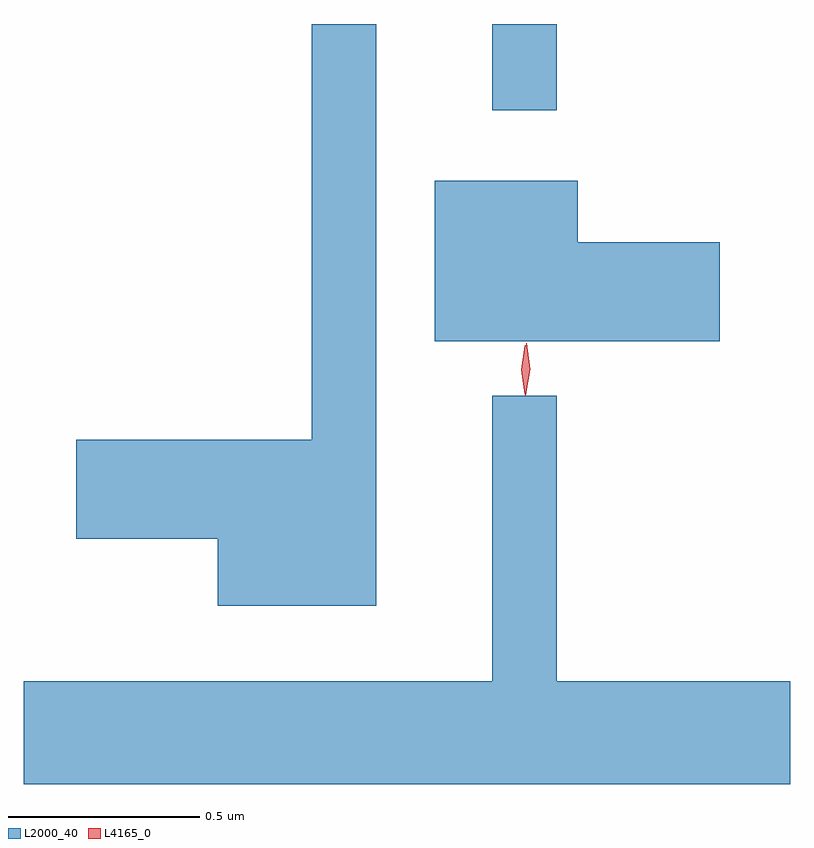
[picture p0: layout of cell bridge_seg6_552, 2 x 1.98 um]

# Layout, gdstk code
import gdstk
lib = gdstk.Library(unit=1e-6, precision=1e-09)
def R(c, l, rs):  # rectangles x0, y0, x1, y1
    for r in rs: c.add(gdstk.rectangle(r[:2], r[2:], *l))
def P(c, l, *ps):  # polygons
    for p in ps: c.add(gdstk.Polygon(p, *l))
L2000_40 = (2000, 40)
L4165_0 = (4165, 0)

bridge_seg6_552 = lib.new_cell('bridge_seg6_552')
R(bridge_seg6_552, L2000_40, [(598.591,1662.793,598.759,1663.018)])
P(bridge_seg6_552, L2000_40, [(598.289,1663.018),(598.121,1663.018),(598.121,1661.934),(597.506,1661.934),(597.506,1661.676),(597.876,1661.676),(597.876,1661.501),(598.289,1661.501)],
  [(599.184,1662.449),(598.814,1662.449),(598.814,1662.609),(598.441,1662.609),(598.441,1662.191),(599.184,1662.191)],
  [(599.369,1661.304),(598.759,1661.304),(598.759,1662.048),(598.591,1662.048),(598.591,1661.304),(597.369,1661.304),(597.369,1661.036),(599.369,1661.036)])
P(bridge_seg6_552, L4165_0, [(598.678,1662.05),(598.67,1662.118),(598.68,1662.185),(598.681,1662.186),(598.681,1662.185),(598.69,1662.118),(598.679,1662.05),(598.679,1662.05)],
  [(598.676,1662.053),(598.667,1662.116),(598.676,1662.179),(598.677,1662.18),(598.677,1662.179),(598.687,1662.116),(598.677,1662.053),(598.677,1662.053)])

lib.write_gds('bridge_seg6_552.gds')
